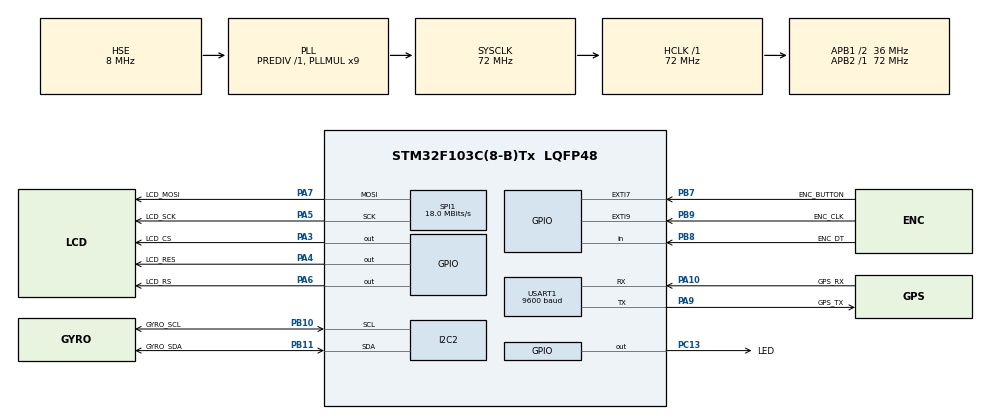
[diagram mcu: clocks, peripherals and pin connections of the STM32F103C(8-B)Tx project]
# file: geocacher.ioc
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Mcu.Family=STM32F1
Mcu.Name=STM32F103C(8-B)Tx
Mcu.Package=LQFP48
NVIC.EXTI9_5_IRQn=true\:0\:0\:false\:false\:true\:true\:true\:true
NVIC.PriorityGroup=NVIC_PRIORITYGROUP_4
NVIC.TIM2_IRQn=true\:0\:0\:false\:false\:true\:true\:true\:true
NVIC.USART1_IRQn=true\:0\:0\:false\:false\:true\:true\:true\:true
PA10.GPIO_Label=GPS_RX
PA10.Mode=Asynchronous
PA10.Signal=USART1_RX
PA13.Mode=Serial_Wire
PA13.Signal=SYS_JTMS-SWDIO
PA14.Mode=Serial_Wire
PA14.Signal=SYS_JTCK-SWCLK
PA3.GPIO_Label=LCD_CS
PA3.PinState=GPIO_PIN_SET
PA3.Signal=GPIO_Output
PA4.GPIO_Label=LCD_RES
PA4.PinState=GPIO_PIN_SET
PA4.Signal=GPIO_Output
PA5.GPIO_Label=LCD_SCK
PA5.Mode=TX_Only_Simplex_Unidirect_Master
PA5.Signal=SPI1_SCK
PA6.GPIO_Label=LCD_RS
PA6.PinState=GPIO_PIN_SET
PA6.Signal=GPIO_Output
PA7.GPIO_Label=LCD_MOSI
PA7.Mode=TX_Only_Simplex_Unidirect_Master
PA7.Signal=SPI1_MOSI
PA9.GPIO_Label=GPS_TX
PA9.Mode=Asynchronous
PA9.Signal=USART1_TX
PB10.GPIO_Label=GYRO_SCL
PB10.Mode=I2C
PB10.Signal=I2C2_SCL
PB11.GPIO_Label=GYRO_SDA
PB11.Mode=I2C
PB11.Signal=I2C2_SDA
PB7.GPIO_Label=ENC_BUTTON
PB7.GPIO_ModeDefaultEXTI=GPIO_MODE_IT_FALLING
PB7.GPIO_PuPd=GPIO_PULLUP
PB7.Signal=GPXTI7
PB8.GPIO_Label=ENC_DT
PB8.Signal=GPIO_Input
PB9.GPIO_Label=ENC_CLK
PB9.GPIO_ModeDefaultEXTI=GPIO_MODE_IT_FALLING
PB9.Signal=GPXTI9
PC13-TAMPER-RTC.GPIO_Label=LED
PC13-TAMPER-RTC.Signal=GPIO_Output
PD0-OSC_IN.Mode=HSE-External-Oscillator
PD0-OSC_IN.Signal=RCC_OSC_IN
PD1-OSC_OUT.Mode=HSE-External-Oscillator
PD1-OSC_OUT.Signal=RCC_OSC_OUT
ProjectManager.HeapSize=0x0
ProjectManager.StackSize=0x800
ProjectManager.TargetToolchain=STM32CubeIDE
RCC.AHBFreq_Value=72000000
RCC.APB1CLKDivider=RCC_HCLK_DIV2
RCC.APB1Freq_Value=36000000
RCC.APB1TimFreq_Value=72000000
RCC.APB2Freq_Value=72000000
RCC.APB2TimFreq_Value=72000000
RCC.HCLKFreq_Value=72000000
RCC.LSE_Drive_Capability=RCC_LSEDRIVE_LOW
RCC.PLLMUL=RCC_PLL_MUL9
RCC.PLLSourceVirtual=RCC_PLLSOURCE_HSE
RCC.PWREXT_OverDrive=PWREXT_OverDrive_DESACTIVATED
RCC.PWR_Regulator_Voltage_Scale=PWR_REGULATOR_VOLTAGE_SCALE3
RCC.RCC_TIM_PRescaler_Selection=RCC_TIMPRES_DESACTIVATED
RCC.SYSCLKFreq_VALUE=72000000
RCC.SYSCLKSource=RCC_SYSCLKSOURCE_PLLCLK
RCC.USBFreq_Value=72000000
SPI1.BaudRatePrescaler=SPI_BAUDRATEPRESCALER_4
SPI1.CalculateBaudRate=18.0 MBits/s
SPI1.Direction=SPI_DIRECTION_2LINES
SPI1.Mode=SPI_MODE_MASTER
SPI1.VirtualType=VM_MASTER
TIM2.AutoReloadPreload=TIM_AUTORELOAD_PRELOAD_ENABLE
TIM2.Channel-Output\ Compare1\ No\ Output=TIM_CHANNEL_1
TIM2.Period=739
USART1.BaudRate=9600
USART1.VirtualMode=VM_ASYNC
VP_RTC_No_RTC_Output.Mode=RTC_OUT_NO
VP_RTC_VS_RTC_Activate.Mode=RTC_Enabled
VP_TIM2_VS_ClockSourceINT.Mode=Internal
VP_TIM2_VS_no_output1.Mode=Output Compare1 No Output
board=custom

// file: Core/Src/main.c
/* USER CODE BEGIN Header */
/**
  ******************************************************************************
  * @file           : main.c
  * @brief          : Main program body
  ******************************************************************************
  * @attention
  *
  * Copyright (c) 2026 STMicroelectronics.
  * All rights reserved.
  *
  * This software is licensed under terms that can be found in the LICENSE file
  * in the root directory of this software component.
  * If no LICENSE file comes with this software, it is provided AS-IS.
  *
  ******************************************************************************
  */
/* USER CODE END Header */
#include "main.h"

/* USER CODE BEGIN Includes */
#include "ST7565.h"
#include "NMEA.h"
#include "Utils.h"
#include "KY040.h"
#include "Geocacher.h"
#include "string.h"
#include "BMI160.h"
/* USER CODE END Includes */

/* USER CODE BEGIN PM */
#define BLINK_AMNT		10u
/* USER CODE END PM */

 I2C_HandleTypeDef hi2c2;

RTC_HandleTypeDef hrtc;

SPI_HandleTypeDef hspi1;

TIM_HandleTypeDef htim2;

UART_HandleTypeDef huart1;

void SystemClock_Config(void);
static void MX_GPIO_Init(void);
static void MX_SPI1_Init(void);
static void MX_USART1_UART_Init(void);
static void MX_TIM2_Init(void);
static void MX_I2C2_Init(void);
static void MX_RTC_Init(void);

/* USER CODE BEGIN 0 */
void LED_Blink_init(void){
	for(uint8_t i = 0u; i < BLINK_AMNT; i++){
	    HAL_GPIO_WritePin(LED_GPIO_Port, LED_Pin, HAL_GPIO_ReadPin(LED_GPIO_Port, LED_Pin) ^ 1);
	    HAL_Delay(100u); /* 100ms */
	}
}

void LED_Blink(void){
	HAL_GPIO_WritePin(LED_GPIO_Port, LED_Pin, HAL_GPIO_ReadPin(LED_GPIO_Port, LED_Pin) ^ 1);
}
/* USER CODE END 0 */

int main(void)
{

  /* MCU Configuration--------------------------------------------------------*/

  /* Reset of all peripherals, Initializes the Flash interface and the Systick. */
  HAL_Init();

  /* Configure the system clock */
  SystemClock_Config();

  /* Initialize all configured peripherals */
  MX_GPIO_Init();
  MX_SPI1_Init();
  MX_USART1_UART_Init();
  MX_TIM2_Init();
  MX_I2C2_Init();
  MX_RTC_Init();
  /* USER CODE BEGIN 2 */
  LED_Blink_init();
  LCD_init();
  Display_Init();
  GPS_init();
  Geocacher_Init();
  KY040_Init(0, -255, 255);
  BMI160_Init();

  convert_horizontal_bitmap(lcd_bitmap, lcd_bitmap_inv, 46, 64);

  /* USER CODE END 2 */

  /* Infinite loop */
  /* USER CODE BEGIN WHILE */
  while (1)
  {

	  GPS_handle();
	  KY040_Hanlder();
	  LCD_Handler();
	  Geocacher_Handler();
	  LCD_updateScreen();

    /* USER CODE END WHILE */

  }
}

void SystemClock_Config(void)
{
  RCC_OscInitTypeDef RCC_OscInitStruct = {0};
  RCC_ClkInitTypeDef RCC_ClkInitStruct = {0};
  RCC_PeriphCLKInitTypeDef PeriphClkInit = {0};

  /** Initializes the RCC Oscillators according to the specified parameters
  * in the RCC_OscInitTypeDef structure.
  */
  RCC_OscInitStruct.OscillatorType = RCC_OSCILLATORTYPE_LSI|RCC_OSCILLATORTYPE_HSE;
  RCC_OscInitStruct.HSEState = RCC_HSE_ON;
  RCC_OscInitStruct.HSEPredivValue = RCC_HSE_PREDIV_DIV1;
  RCC_OscInitStruct.HSIState = RCC_HSI_ON;
  RCC_OscInitStruct.LSIState = RCC_LSI_ON;
  RCC_OscInitStruct.PLL.PLLState = RCC_PLL_ON;
  RCC_OscInitStruct.PLL.PLLSource = RCC_PLLSOURCE_HSE;
  RCC_OscInitStruct.PLL.PLLMUL = RCC_PLL_MUL9;
  if (HAL_RCC_OscConfig(&RCC_OscInitStruct) != HAL_OK)
  {
    Error_Handler();
  }

  /** Initializes the CPU, AHB and APB buses clocks
  */
  RCC_ClkInitStruct.ClockType = RCC_CLOCKTYPE_HCLK|RCC_CLOCKTYPE_SYSCLK
                              |RCC_CLOCKTYPE_PCLK1|RCC_CLOCKTYPE_PCLK2;
  RCC_ClkInitStruct.SYSCLKSource = RCC_SYSCLKSOURCE_PLLCLK;
  RCC_ClkInitStruct.AHBCLKDivider = RCC_SYSCLK_DIV1;
  RCC_ClkInitStruct.APB1CLKDivider = RCC_HCLK_DIV2;
  RCC_ClkInitStruct.APB2CLKDivider = RCC_HCLK_DIV1;

  if (HAL_RCC_ClockConfig(&RCC_ClkInitStruct, FLASH_LATENCY_2) != HAL_OK)
  {
    Error_Handler();
  }
  PeriphClkInit.PeriphClockSelection = RCC_PERIPHCLK_RTC;
  PeriphClkInit.RTCClockSelection = RCC_RTCCLKSOURCE_LSI;
  if (HAL_RCCEx_PeriphCLKConfig(&PeriphClkInit) != HAL_OK)
  {
    Error_Handler();
  }
}

static void MX_I2C2_Init(void)
{

  hi2c2.Instance = I2C2;
  hi2c2.Init.ClockSpeed = 100000;
  hi2c2.Init.DutyCycle = I2C_DUTYCYCLE_2;
  hi2c2.Init.OwnAddress1 = 0;
  hi2c2.Init.AddressingMode = I2C_ADDRESSINGMODE_7BIT;
  hi2c2.Init.DualAddressMode = I2C_DUALADDRESS_DISABLE;
  hi2c2.Init.OwnAddress2 = 0;
  hi2c2.Init.GeneralCallMode = I2C_GENERALCALL_DISABLE;
  hi2c2.Init.NoStretchMode = I2C_NOSTRETCH_DISABLE;
  if (HAL_I2C_Init(&hi2c2) != HAL_OK)
  {
    Error_Handler();
  }

}

static void MX_RTC_Init(void)
{

  RTC_TimeTypeDef sTime = {0};
  RTC_DateTypeDef DateToUpdate = {0};

  /** Initialize RTC Only
  */
  hrtc.Instance = RTC;
  hrtc.Init.AsynchPrediv = RTC_AUTO_1_SECOND;
  hrtc.Init.OutPut = RTC_OUTPUTSOURCE_NONE;
  if (HAL_RTC_Init(&hrtc) != HAL_OK)
  {
    Error_Handler();
  }

  /** Initialize RTC and set the Time and Date
  */
  sTime.Hours = 0x0;
  sTime.Minutes = 0x0;
  sTime.Seconds = 0x0;

  if (HAL_RTC_SetTime(&hrtc, &sTime, RTC_FORMAT_BCD) != HAL_OK)
  {
    Error_Handler();
  }
  DateToUpdate.WeekDay = RTC_WEEKDAY_MONDAY;
  DateToUpdate.Month = RTC_MONTH_JANUARY;
  DateToUpdate.Date = 0x1;
  DateToUpdate.Year = 0x0;

  if (HAL_RTC_SetDate(&hrtc, &DateToUpdate, RTC_FORMAT_BCD) != HAL_OK)
  {
    Error_Handler();
  }

}

static void MX_SPI1_Init(void)
{

  /* SPI1 parameter configuration*/
  hspi1.Instance = SPI1;
  hspi1.Init.Mode = SPI_MODE_MASTER;
  hspi1.Init.Direction = SPI_DIRECTION_2LINES;
  hspi1.Init.DataSize = SPI_DATASIZE_8BIT;
  hspi1.Init.CLKPolarity = SPI_POLARITY_LOW;
  hspi1.Init.CLKPhase = SPI_PHASE_1EDGE;
  hspi1.Init.NSS = SPI_NSS_SOFT;
  hspi1.Init.BaudRatePrescaler = SPI_BAUDRATEPRESCALER_4;
  hspi1.Init.FirstBit = SPI_FIRSTBIT_MSB;
  hspi1.Init.TIMode = SPI_TIMODE_DISABLE;
  hspi1.Init.CRCCalculation = SPI_CRCCALCULATION_DISABLE;
  hspi1.Init.CRCPolynomial = 10;
  if (HAL_SPI_Init(&hspi1) != HAL_OK)
  {
    Error_Handler();
  }

}

static void MX_TIM2_Init(void)
{

  TIM_ClockConfigTypeDef sClockSourceConfig = {0};
  TIM_MasterConfigTypeDef sMasterConfig = {0};
  TIM_OC_InitTypeDef sConfigOC = {0};

  htim2.Instance = TIM2;
  htim2.Init.Prescaler = 0;
  htim2.Init.CounterMode = TIM_COUNTERMODE_UP;
  htim2.Init.Period = 739;
  htim2.Init.ClockDivision = TIM_CLOCKDIVISION_DIV1;
  htim2.Init.AutoReloadPreload = TIM_AUTORELOAD_PRELOAD_ENABLE;
  if (HAL_TIM_Base_Init(&htim2) != HAL_OK)
  {
    Error_Handler();
  }
  sClockSourceConfig.ClockSource = TIM_CLOCKSOURCE_INTERNAL;
  if (HAL_TIM_ConfigClockSource(&htim2, &sClockSourceConfig) != HAL_OK)
  {
    Error_Handler();
  }
  if (HAL_TIM_OC_Init(&htim2) != HAL_OK)
  {
    Error_Handler();
  }
  sMasterConfig.MasterOutputTrigger = TIM_TRGO_RESET;
  sMasterConfig.MasterSlaveMode = TIM_MASTERSLAVEMODE_DISABLE;
  if (HAL_TIMEx_MasterConfigSynchronization(&htim2, &sMasterConfig) != HAL_OK)
  {
    Error_Handler();
  }
  sConfigOC.OCMode = TIM_OCMODE_TIMING;
  sConfigOC.Pulse = 0;
  sConfigOC.OCPolarity = TIM_OCPOLARITY_HIGH;
  sConfigOC.OCFastMode = TIM_OCFAST_DISABLE;
  if (HAL_TIM_OC_ConfigChannel(&htim2, &sConfigOC, TIM_CHANNEL_1) != HAL_OK)
  {
    Error_Handler();
  }
  /* USER CODE BEGIN TIM2_Init 2 */
  HAL_TIM_Base_Start_IT(&htim2);
  /* USER CODE END TIM2_Init 2 */

}

static void MX_USART1_UART_Init(void)
{

  huart1.Instance = USART1;
  huart1.Init.BaudRate = 9600;
  huart1.Init.WordLength = UART_WORDLENGTH_8B;
  huart1.Init.StopBits = UART_STOPBITS_1;
  huart1.Init.Parity = UART_PARITY_NONE;
  huart1.Init.Mode = UART_MODE_TX_RX;
  huart1.Init.HwFlowCtl = UART_HWCONTROL_NONE;
  huart1.Init.OverSampling = UART_OVERSAMPLING_16;
  if (HAL_UART_Init(&huart1) != HAL_OK)
  {
    Error_Handler();
  }
  /* USER CODE BEGIN USART1_Init 2 */

  /* Enable the UART Data Register not empty Interrupt */
  __HAL_UART_ENABLE_IT(&huart1, UART_IT_RXNE);

  /* USER CODE END USART1_Init 2 */

}

static void MX_GPIO_Init(void)
{
  GPIO_InitTypeDef GPIO_InitStruct = {0};

  /* GPIO Ports Clock Enable */
  __HAL_RCC_GPIOC_CLK_ENABLE();
  __HAL_RCC_GPIOD_CLK_ENABLE();
  __HAL_RCC_GPIOA_CLK_ENABLE();
  __HAL_RCC_GPIOB_CLK_ENABLE();

  /*Configure GPIO pin Output Level */
  HAL_GPIO_WritePin(LED_GPIO_Port, LED_Pin, GPIO_PIN_RESET);

  /*Configure GPIO pin Output Level */
  HAL_GPIO_WritePin(GPIOA, LCD_CS_Pin|LCD_RES_Pin|LCD_RS_Pin, GPIO_PIN_SET);

  /*Configure GPIO pin : LED_Pin */
  GPIO_InitStruct.Pin = LED_Pin;
  GPIO_InitStruct.Mode = GPIO_MODE_OUTPUT_PP;
  GPIO_InitStruct.Pull = GPIO_NOPULL;
  GPIO_InitStruct.Speed = GPIO_SPEED_FREQ_LOW;
  HAL_GPIO_Init(LED_GPIO_Port, &GPIO_InitStruct);

  /*Configure GPIO pins : LCD_CS_Pin LCD_RES_Pin LCD_RS_Pin */
  GPIO_InitStruct.Pin = LCD_CS_Pin|LCD_RES_Pin|LCD_RS_Pin;
  GPIO_InitStruct.Mode = GPIO_MODE_OUTPUT_PP;
  GPIO_InitStruct.Pull = GPIO_NOPULL;
  GPIO_InitStruct.Speed = GPIO_SPEED_FREQ_LOW;
  HAL_GPIO_Init(GPIOA, &GPIO_InitStruct);

  /*Configure GPIO pin : ENC_BUTTON_Pin */
  GPIO_InitStruct.Pin = ENC_BUTTON_Pin;
  GPIO_InitStruct.Mode = GPIO_MODE_IT_FALLING;
  GPIO_InitStruct.Pull = GPIO_PULLUP;
  HAL_GPIO_Init(ENC_BUTTON_GPIO_Port, &GPIO_InitStruct);

  /*Configure GPIO pin : ENC_DT_Pin */
  GPIO_InitStruct.Pin = ENC_DT_Pin;
  GPIO_InitStruct.Mode = GPIO_MODE_INPUT;
  GPIO_InitStruct.Pull = GPIO_NOPULL;
  HAL_GPIO_Init(ENC_DT_GPIO_Port, &GPIO_InitStruct);

  /*Configure GPIO pin : ENC_CLK_Pin */
  GPIO_InitStruct.Pin = ENC_CLK_Pin;
  GPIO_InitStruct.Mode = GPIO_MODE_IT_FALLING;
  GPIO_InitStruct.Pull = GPIO_NOPULL;
  HAL_GPIO_Init(ENC_CLK_GPIO_Port, &GPIO_InitStruct);

  /* EXTI interrupt init*/
  HAL_NVIC_SetPriority(EXTI9_5_IRQn, 0, 0);
  HAL_NVIC_EnableIRQ(EXTI9_5_IRQn);

}

/* USER CODE BEGIN 4 */
void HAL_GPIO_EXTI_Callback(uint16_t GPIO_Pin)
{
	EXTI_ISR_Handler(GPIO_Pin);
}
/* USER CODE END 4 */

void Error_Handler(void)
{
  __disable_irq();
  while (1)
  {
  }
}
